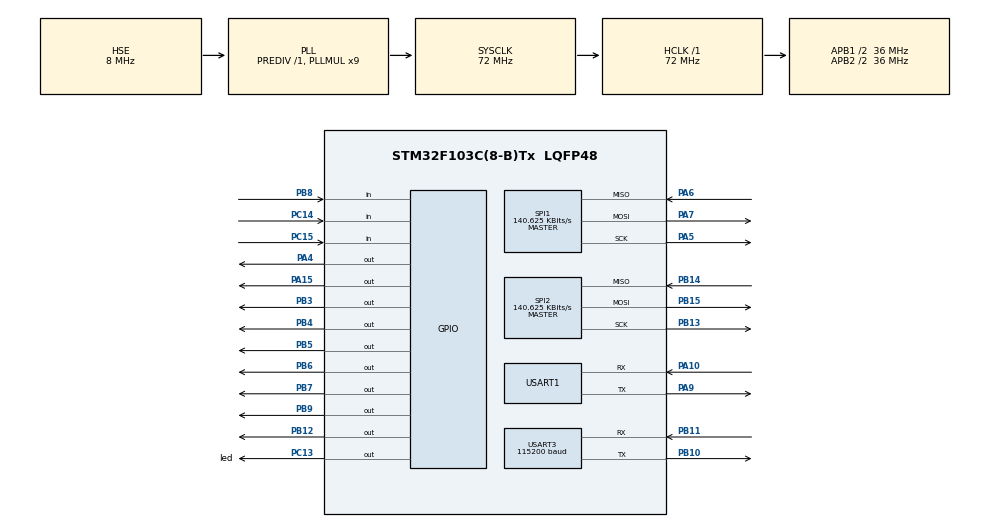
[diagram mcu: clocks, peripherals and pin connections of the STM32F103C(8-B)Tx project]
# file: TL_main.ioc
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Mcu.Family=STM32F1
Mcu.Name=STM32F103C(8-B)Tx
Mcu.Package=LQFP48
NVIC.PriorityGroup=NVIC_PRIORITYGROUP_4
NVIC.SPI1_IRQn=true\:0\:0\:false\:false\:true\:true
NVIC.SPI2_IRQn=true\:0\:0\:false\:false\:true\:true
NVIC.TIM4_IRQn=true\:0\:0\:false\:false\:true\:true
NVIC.USART1_IRQn=true\:0\:0\:false\:false\:true\:true
NVIC.USART3_IRQn=true\:0\:0\:false\:false\:true\:true
PA10.Mode=Asynchronous
PA10.Signal=USART1_RX
PA13.Mode=Serial_Wire
PA13.Signal=SYS_JTMS-SWDIO
PA14.Mode=Serial_Wire
PA14.Signal=SYS_JTCK-SWCLK
PA15.GPIO_ModeDefaultOutputPP=GPIO_MODE_OUTPUT_PP
PA15.GPIO_PuPd=GPIO_NOPULL
PA15.GPIO_Speed=GPIO_SPEED_FREQ_LOW
PA15.PinState=GPIO_PIN_RESET
PA15.Signal=GPIO_Output
PA4.GPIO_ModeDefaultOutputPP=GPIO_MODE_OUTPUT_PP
PA4.GPIO_PuPd=GPIO_NOPULL
PA4.GPIO_Speed=GPIO_SPEED_FREQ_LOW
PA4.PinState=GPIO_PIN_RESET
PA4.Signal=GPIO_Output
PA5.Mode=Full_Duplex_Master
PA5.Signal=SPI1_SCK
PA6.GPIO_Mode=GPIO_MODE_INPUT
PA6.GPIO_PuPd=GPIO_NOPULL
PA6.Mode=Full_Duplex_Master
PA6.Signal=SPI1_MISO
PA7.Mode=Full_Duplex_Master
PA7.Signal=SPI1_MOSI
PA9.Mode=Asynchronous
PA9.Signal=USART1_TX
PB10.Mode=Asynchronous
PB10.Signal=USART3_TX
PB11.Mode=Asynchronous
PB11.Signal=USART3_RX
PB12.GPIO_ModeDefaultOutputPP=GPIO_MODE_OUTPUT_PP
PB12.GPIO_PuPd=GPIO_NOPULL
PB12.GPIO_Speed=GPIO_SPEED_FREQ_LOW
PB12.PinState=GPIO_PIN_RESET
PB12.Signal=GPIO_Output
PB13.Mode=Full_Duplex_Master
PB13.Signal=SPI2_SCK
PB14.Mode=Full_Duplex_Master
PB14.Signal=SPI2_MISO
PB15.Mode=Full_Duplex_Master
PB15.Signal=SPI2_MOSI
PB3.GPIO_ModeDefaultOutputPP=GPIO_MODE_OUTPUT_PP
PB3.GPIO_PuPd=GPIO_NOPULL
PB3.GPIO_Speed=GPIO_SPEED_FREQ_LOW
PB3.PinState=GPIO_PIN_RESET
PB3.Signal=GPIO_Output
PB4.GPIO_ModeDefaultOutputPP=GPIO_MODE_OUTPUT_PP
PB4.GPIO_PuPd=GPIO_NOPULL
PB4.GPIO_Speed=GPIO_SPEED_FREQ_LOW
PB4.PinState=GPIO_PIN_RESET
PB4.Signal=GPIO_Output
PB5.GPIO_ModeDefaultOutputPP=GPIO_MODE_OUTPUT_PP
PB5.GPIO_PuPd=GPIO_NOPULL
PB5.GPIO_Speed=GPIO_SPEED_FREQ_LOW
PB5.PinState=GPIO_PIN_RESET
PB5.Signal=GPIO_Output
PB6.GPIO_ModeDefaultOutputPP=GPIO_MODE_OUTPUT_PP
PB6.GPIO_PuPd=GPIO_NOPULL
PB6.GPIO_Speed=GPIO_SPEED_FREQ_LOW
PB6.PinState=GPIO_PIN_RESET
PB6.Signal=GPIO_Output
PB7.GPIO_ModeDefaultOutputPP=GPIO_MODE_OUTPUT_PP
PB7.GPIO_PuPd=GPIO_NOPULL
PB7.GPIO_Speed=GPIO_SPEED_FREQ_LOW
PB7.PinState=GPIO_PIN_RESET
PB7.Signal=GPIO_Output
PB8.Signal=GPIO_Input
PB9.Signal=GPIO_Output
PC13-TAMPER-RTC.GPIO_Label=led
PC13-TAMPER-RTC.GPIO_ModeDefaultOutputPP=GPIO_MODE_OUTPUT_PP
PC13-TAMPER-RTC.GPIO_PuPd=GPIO_NOPULL
PC13-TAMPER-RTC.GPIO_Speed=GPIO_SPEED_FREQ_LOW
PC13-TAMPER-RTC.PinState=GPIO_PIN_RESET
PC13-TAMPER-RTC.Signal=GPIO_Output
PC14-OSC32_IN.GPIO_Mode=GPIO_MODE_INPUT
PC14-OSC32_IN.GPIO_PuPd=GPIO_NOPULL
PC14-OSC32_IN.Signal=GPIO_Input
PC15-OSC32_OUT.GPIO_Mode=GPIO_MODE_INPUT
PC15-OSC32_OUT.GPIO_PuPd=GPIO_NOPULL
PC15-OSC32_OUT.Signal=GPIO_Input
PD0-OSC_IN.Mode=HSE-External-Oscillator
PD0-OSC_IN.Signal=RCC_OSC_IN
PD1-OSC_OUT.Mode=HSE-External-Oscillator
PD1-OSC_OUT.Signal=RCC_OSC_OUT
ProjectManager.HeapSize=0x200
ProjectManager.StackSize=0x400
ProjectManager.TargetToolchain=MDK-ARM V5
RCC.AHBFreq_Value=72000000
RCC.APB1CLKDivider=RCC_HCLK_DIV2
RCC.APB1Freq_Value=36000000
RCC.APB1TimFreq_Value=72000000
RCC.APB2CLKDivider=RCC_HCLK_DIV2
RCC.APB2Freq_Value=36000000
RCC.APB2TimFreq_Value=72000000
RCC.HCLKFreq_Value=72000000
RCC.PLLMUL=RCC_PLL_MUL9
RCC.PLLSourceVirtual=RCC_PLLSOURCE_HSE
RCC.SYSCLKFreq_VALUE=72000000
RCC.SYSCLKSource=RCC_SYSCLKSOURCE_PLLCLK
RCC.USBFreq_Value=72000000
SPI1.BaudRatePrescaler=SPI_BAUDRATEPRESCALER_256
SPI1.CLKPhase=SPI_PHASE_2EDGE
SPI1.CalculateBaudRate=140.625 KBits/s
SPI1.Direction=SPI_DIRECTION_2LINES
SPI1.Mode=SPI_MODE_MASTER
SPI1.VirtualType=VM_MASTER
SPI2.BaudRatePrescaler=SPI_BAUDRATEPRESCALER_256
SPI2.CLKPhase=SPI_PHASE_2EDGE
SPI2.CalculateBaudRate=140.625 KBits/s
SPI2.Direction=SPI_DIRECTION_2LINES
SPI2.Mode=SPI_MODE_MASTER
SPI2.VirtualType=VM_MASTER
TIM4.AutoReloadPreload=TIM_AUTORELOAD_PRELOAD_ENABLE
TIM4.Period=2000
TIM4.Prescaler=36000
USART1.VirtualMode=VM_ASYNC
USART3.BaudRate=115200
USART3.VirtualMode=VM_ASYNC
VP_TIM4_VS_ClockSourceINT.Mode=Internal
board=custom

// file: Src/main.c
/**
  ******************************************************************************
  * @file           : main.c
  * @brief          : Main program body
  ******************************************************************************
  ** This notice applies to any and all portions of this file
  * that are not between comment pairs USER CODE BEGIN and
  * USER CODE END. Other portions of this file, whether
  * inserted by the user or by software development tools
  * are owned by their respective copyright owners.
  *
  * COPYRIGHT(c) 2020 STMicroelectronics
  *
  * Redistribution and use in source and binary forms, with or without modification,
  * are permitted provided that the following conditions are met:
  *   1. Redistributions of source code must retain the above copyright notice,
  *      this list of conditions and the following disclaimer.
  *   2. Redistributions in binary form must reproduce the above copyright notice,
  *      this list of conditions and the following disclaimer in the documentation
  *      and/or other materials provided with the distribution.
  *   3. Neither the name of STMicroelectronics nor the names of its contributors
  *      may be used to endorse or promote products derived from this software
  *      without specific prior written permission.
  *
  * THIS SOFTWARE IS PROVIDED BY THE COPYRIGHT HOLDERS AND CONTRIBUTORS "AS IS"
  * AND ANY EXPRESS OR IMPLIED WARRANTIES, INCLUDING, BUT NOT LIMITED TO, THE
  * IMPLIED WARRANTIES OF MERCHANTABILITY AND FITNESS FOR A PARTICULAR PURPOSE ARE
  * DISCLAIMED. IN NO EVENT SHALL THE COPYRIGHT HOLDER OR CONTRIBUTORS BE LIABLE
  * FOR ANY DIRECT, INDIRECT, INCIDENTAL, SPECIAL, EXEMPLARY, OR CONSEQUENTIAL
  * DAMAGES (INCLUDING, BUT NOT LIMITED TO, PROCUREMENT OF SUBSTITUTE GOODS OR
  * SERVICES; LOSS OF USE, DATA, OR PROFITS; OR BUSINESS INTERRUPTION) HOWEVER
  * CAUSED AND ON ANY THEORY OF LIABILITY, WHETHER IN CONTRACT, STRICT LIABILITY,
  * OR TORT (INCLUDING NEGLIGENCE OR OTHERWISE) ARISING IN ANY WAY OUT OF THE USE
  * OF THIS SOFTWARE, EVEN IF ADVISED OF THE POSSIBILITY OF SUCH DAMAGE.
  *
  ******************************************************************************
  */
#include "main.h"
#include "stm32f1xx_hal.h"

/* USER CODE BEGIN Includes */
#include "ADE7753.h"
//#include "tm_stm32_hd44780.h"
#include "lcd_txt.h"
#include "rc522.h"
#include "stdio.h"
#include "stdlib.h"
#include <cstring>
#include <stdbool.h>
#include "math.h"
//#include <Sim80x.h>
#include <string.h>
#include "modbusRTU.h"
//include <stdio.h>
#define relay_on HAL_GPIO_WritePin(GPIOB,GPIO_PIN_1,GPIO_PIN_SET)
#define relay_off HAL_GPIO_WritePin(GPIOB,GPIO_PIN_1,GPIO_PIN_RESET)
//#define relay_off HAL_GPIO_WritePin(GPIOB,GPIO_PIN_1,GPIO_PIN_RESET)
/* USER CODE END Includes */

SPI_HandleTypeDef hspi1;
SPI_HandleTypeDef hspi2;

TIM_HandleTypeDef htim4;

UART_HandleTypeDef huart1;
UART_HandleTypeDef huart3;

/* USER CODE BEGIN PV */
/* Private variables ---------------------------------------------------------*/
char buffer[20];              // buffer LCD
float Vhd1 =0.0,Vhd2=0.0,Vhdtest=0.0;
float Ihd1 =0.0,Ihd2=0.0,Ihdtest=0.0;
uint32_t Vr_ADC=0;
uint32_t Ir_ADC=0;
char bfr_wifi1[200],bfr_wifi2[200],bfr_rs485[200];
uint8_t i=0,lcd_check=1;
uint8_t id=1;
uint16_t Voffset = 0, Ioffset = 0;
uint8_t R_gain;
uint8_t ver;
uint8_t R_CH1OS ;
uint8_t R_CH2OS ;
uint32_t Waveform ;
float freq1,freq2,freq;
float cosP1=0.0,cosP2=0.0,cosP=0.0;
float csP1=0.0,csP2=0.0,csP=0.0,P_peak=0.0,csP_nhan=0.0,csP_do=0.0;
float csS1=0.0,csS2=0.0,csS=0.0,S_peak=0.0,csS1_do;
float csQ1=0.0,csQ2=0.0,csQ=0.0, Q_peak=0.0;
float V_peak=0.0, I_peak=0.0 ;
uint16_t Flag1s = 0;

uint8_t count_Byte;
char current_Address;																	// Dia chi mod bus
char Rx_data;

/* USER CODE END PV */

void SystemClock_Config(void);
static void MX_GPIO_Init(void);
static void MX_SPI1_Init(void);
static void MX_SPI2_Init(void);
static void MX_USART1_UART_Init(void);
static void MX_USART3_UART_Init(void);
static void MX_TIM4_Init(void);

/* USER CODE BEGIN PFP */
/* Private function prototypes -----------------------------------------------*/

uint16_t modbus_crc(char *buf, int len)
{
    uint16_t crc = 0xFFFF;

    for (int pos = 0; pos < len; pos++) {
        crc ^= (uint16_t)buf[pos];          // XOR byte into least sig. byte of crc

        for (int i = 8; i != 0; i--) {    // Loop over each bit
            if ((crc & 0x0001) != 0) {      // If the LSB is set
                crc >>= 1;                    // Shift right and XOR 0xA001
                crc ^= 0xA001;
            } else                          // Else LSB is not set
                crc >>= 1;                    // Just shift right
        }
    }
    // Note, this number has low and high bytes swapped, so use it accordingly (or swap bytes)
    return crc;
}
/* END CRC Modbus Function */

/* BEGIN Read Holding Register Function */
void read_Holding_Reg(UART_HandleTypeDef* huart, char slave_address, char Holding_Reg[2], char quantity_Reg)
{
	current_Address = slave_address;
	count_Byte = 5 + (uint8_t)quantity_Reg*2;
	char L1V[8] = {slave_address, 0x03, Holding_Reg[0], Holding_Reg[1], 0x00, quantity_Reg, 0x22, 0x12};
	L1V[6] = modbus_crc(L1V,6) & 0xFF;
  L1V[7] = (modbus_crc(L1V,6)>>8) & 0xFF;

  TRANSFER_EN();

	HAL_Delay(1);
  HAL_UART_Transmit(huart, (uint8_t*)L1V, 8 ,1000);
  HAL_Delay(1);
	RECEIVER_EN();
	HAL_UART_Receive_IT(huart, (uint8_t*)&Rx_data, 1);

}
/* END Read Holding Register Function */

/* BEGIN TransferRTU Enable*/
void TRANSFER_EN(void)
{
	HAL_GPIO_WritePin(GPIOB, GPIO_PIN_9, GPIO_PIN_SET);
}
/* END TransferRTU Enable */

/* BEGIN TransferRTU Enable */
void RECEIVER_EN(void)
{
	HAL_GPIO_WritePin(GPIOB, GPIO_PIN_9, GPIO_PIN_RESET);
}
/* END TransferRTU Enable */

void clear1line(uint8_t line)
{
	for (uint8_t i =0 ; i <20 ; i++)
	{
		lcd_puts(line,i, (int8_t*)" ");
	}
}

void HAL_TIM_PeriodElapsedCallback(TIM_HandleTypeDef *htim4)
{
	if(htim4 -> Instance == TIM4)
	{
		Flag1s= Flag1s+1;
	}
}

void lcd_display(void)
{
	if((Flag1s>=0)&&(Flag1s<20)){
		if(lcd_check==1){
			clear1line(1);
			clear1line(2);
			clear1line(3);
			lcd_check=2;
			}

		sprintf(buffer,"Thong so to may id=%d",id);
		lcd_puts(0,0,(int8_t*)buffer);

		sprintf(buffer,"U1:%0.2f",Vhd1);
		lcd_puts(1,0,(int8_t*)buffer);

		sprintf(buffer,"U2:%0.2f",Vhd2);
		lcd_puts(1,10,(int8_t*)buffer);

		sprintf(buffer,"I1:%0.2f",Ihd1);
		lcd_puts(2,0,(int8_t*)buffer);

		sprintf(buffer,"I2:%0.2f",Ihd2);
		lcd_puts(2,10,(int8_t*)buffer);

		sprintf(buffer,"f1:%0.1f",freq1);
		lcd_puts(3,0,(int8_t*)buffer);

		sprintf(buffer,"f2:%0.1f",freq2);
		lcd_puts(3,10,(int8_t*)buffer);
	}

	if((Flag1s>=20)&&(Flag1s<40))
		{
			if(lcd_check==2){
				clear1line(1);
				clear1line(2);
				clear1line(3);
				lcd_check=3;
			}
		sprintf(buffer,"Thong so to may id=%d",id);
		lcd_puts(0,0,(int8_t*)buffer);
		sprintf(buffer,"P1:%0.2f",csP1);
		lcd_puts(1,0,(int8_t*)buffer);

		sprintf(buffer,"P2:%0.2f",csP2);
		lcd_puts(1,10,(int8_t*)buffer);

		sprintf(buffer,"Q1:%0.2f",csQ1);
		lcd_puts(2,0,(int8_t*)buffer);

		sprintf(buffer,"Q2:%0.2f",csQ2);
		lcd_puts(2,10,(int8_t*)buffer);

		sprintf(buffer,"cos1:%0.2f",cosP1);
		lcd_puts(3,0,(int8_t*)buffer);

		sprintf(buffer,"cos2:%0.2f",cosP2);
		lcd_puts(3,10,(int8_t*)buffer);

	}
			if((Flag1s>=40)&&(Flag1s<60))
		{
		if(lcd_check==3){
				clear1line(1);
				clear1line(2);
				clear1line(3);
				lcd_check=1;
			}
		sprintf(buffer,"Thong so to may id=%d",id);
		lcd_puts(0,0,(int8_t*)buffer);
		sprintf(buffer,"P:%0.2f",csP);
		lcd_puts(1,0,(int8_t*)buffer);

		sprintf(buffer,"Q:%0.2f",csQ);
		lcd_puts(1,10,(int8_t*)buffer);

		sprintf(buffer,"cosP:%0.2f",cosP);
		lcd_puts(2,0,(int8_t*)buffer);

		sprintf(buffer,"f:%0.2f",freq);
		lcd_puts(2,10,(int8_t*)buffer);

		sprintf(buffer,"P_p:%0.2f",P_peak);
		lcd_puts(3,0,(int8_t*)buffer);

		sprintf(buffer,"Q_p:%0.2f",Q_peak);
		lcd_puts(3,10,(int8_t*)buffer);
		if(Flag1s>=58){
			Flag1s = 0;

		}

	}

}

void sendata_RS485(){
			sprintf(bfr_rs485,"{\"Id\":\"%d\",\"U1\":\"%0.3f\",\"U2\":\"%0.3f\",\"I1\":\"%0.3f\",\"I2\":\"%0.3f\",\"cosP1\":\"%0.3f\",\"cosP2\":\"%0.3f\",\"csS\":\"%0.3f\",\"csP\":\"%0.3f\",\"csQ\":\"%0.3f\",\"cosP\":\"%0.3f\",\"freq\":\"%0.3f\",\"P_peak\":\"%0.3f\",\"Q_peak\":\"%0.3f\"}\n",id,Vhd1,Vhd2,Ihd1,Ihd2,cosP1,cosP2,csS,csP,csQ,cosP,freq,P_peak,Q_peak);
			HAL_UART_Transmit_IT(&huart3,(uint8_t*)bfr_rs485,strlen(bfr_rs485));
}
void sendata_wifi(){
			sprintf(bfr_wifi2,"{\"Id\":\"%d\",\"U1\":\"%0.3f\",\"U2\":\"%0.3f\",\"I1\":\"%0.3f\",\"I2\":\"%0.3f\",\"cosP1\":\"%0.3f\",\"cosP2\":\"%0.3f\"}\n",id,Vhd1,Vhd2,Ihd1,Ihd2,cosP1,cosP2);
			HAL_UART_Transmit_IT(&huart1,(uint8_t*)bfr_wifi2,strlen(bfr_wifi2));
			HAL_Delay(100);
			sprintf(bfr_wifi1,"{\"csS\":\"%0.3f\",\"csP\":\"%0.3f\",\"csQ\":\"%0.3f\",\"cosP\":\"%0.3f\",\"freq\":\"%0.3f\",\"P_peak\":\"%0.3f\",\"Q_peak\":\"%0.3f\"}\n",csS,csP,csQ,cosP,freq,P_peak,Q_peak);
			HAL_UART_Transmit_IT(&huart1,(uint8_t*)bfr_wifi1,strlen(bfr_wifi1));
			HAL_Delay(100);

}
void getdata(){
		Vhd1 = vrms1()/10*sqrt(3);	//Ty so bien ap la 10000:100 =100 doi ra KV thi chia 1000, ti le la 1/10 roi nhan can 3 de ra dien ap o so cap vi thu cap B noi dat
		Vhd2 = vrms2()/10*sqrt(3);

		Ihd1 = irms1()*1.6; // Ty so bien dong la 1600, doi ra KA ti so la 1600/1000 = 1.6
		Ihd2 = irms2()*1.6;

		csP1 = getP1()*0.16*sqrt(3); // ty le 1600*100/1e6 =0.16 MW, nhan can 3 de ra o so cap
		csP2 = getP2()*0.16*sqrt(3);
		csP = csP1 + csP2;

		csS1 = getS1()*0.16*sqrt(3);
		csS2 = getS2()*0.16*sqrt(3);
		csS = csS1+ csS2;

		csQ1 = csS1 - csP1;
		csQ2 = csS2- csP2;
		csQ  = csS - csP;

		cosP1 = csP1/csS1;
		cosP2 = csP2/csS2;
		cosP = csP/csS;

		freq1 = getFrecuency_1();
		freq2 = getFrecuency_2();
		freq = (freq1 +freq2)/2 ;

}
void handle_pick(){
	if(csP>P_peak){
		P_peak = csP;
	}
	if(csQ> Q_peak){
		Q_peak = csQ;
	}

}

void Reset_ADE() {
	HAL_GPIO_WritePin(GPIOA,GPIO_PIN_1,GPIO_PIN_SET);
	//HAL_Delay(10);
	HAL_GPIO_WritePin(GPIOA,GPIO_PIN_1,GPIO_PIN_RESET);
	HAL_Delay(20);
	HAL_GPIO_WritePin(GPIOA,GPIO_PIN_1,GPIO_PIN_SET);
}
/* USER CODE END PFP */

int main(void)
{

  /* MCU Configuration----------------------------------------------------------*/

  /* Reset of all peripherals, Initializes the Flash interface and the Systick. */
  HAL_Init();

  /* Configure the system clock */
  SystemClock_Config();

  /* Initialize all configured peripherals */
  MX_GPIO_Init();
  MX_SPI1_Init();
  MX_SPI2_Init();
  MX_USART1_UART_Init();
  MX_USART3_UART_Init();
  MX_TIM4_Init();
  /* USER CODE BEGIN 2 */
	HAL_TIM_Base_Start_IT(&htim4);
	lcd_init();
	Reset_ADE();

//	lcd_puts(3,3,(int8_t*)"hello");

//	relay_on;

  /* USER CODE END 2 */

  /* Infinite loop */
  /* USER CODE BEGIN WHILE */
  while (1)
  {
		getdata();
		handle_pick();
		sendata_RS485();
		sendata_wifi();
		HAL_GPIO_TogglePin(GPIOC,GPIO_PIN_13);
		HAL_Delay(100);
		lcd_display();

  /* USER CODE END WHILE */

  }

}

void SystemClock_Config(void)
{

  RCC_OscInitTypeDef RCC_OscInitStruct;
  RCC_ClkInitTypeDef RCC_ClkInitStruct;

    /**Initializes the CPU, AHB and APB busses clocks
    */
  RCC_OscInitStruct.OscillatorType = RCC_OSCILLATORTYPE_HSE;
  RCC_OscInitStruct.HSEState = RCC_HSE_ON;
  RCC_OscInitStruct.HSEPredivValue = RCC_HSE_PREDIV_DIV1;
  RCC_OscInitStruct.HSIState = RCC_HSI_ON;
  RCC_OscInitStruct.PLL.PLLState = RCC_PLL_ON;
  RCC_OscInitStruct.PLL.PLLSource = RCC_PLLSOURCE_HSE;
  RCC_OscInitStruct.PLL.PLLMUL = RCC_PLL_MUL9;
  if (HAL_RCC_OscConfig(&RCC_OscInitStruct) != HAL_OK)
  {
    _Error_Handler(__FILE__, __LINE__);
  }

    /**Initializes the CPU, AHB and APB busses clocks
    */
  RCC_ClkInitStruct.ClockType = RCC_CLOCKTYPE_HCLK|RCC_CLOCKTYPE_SYSCLK
                              |RCC_CLOCKTYPE_PCLK1|RCC_CLOCKTYPE_PCLK2;
  RCC_ClkInitStruct.SYSCLKSource = RCC_SYSCLKSOURCE_PLLCLK;
  RCC_ClkInitStruct.AHBCLKDivider = RCC_SYSCLK_DIV1;
  RCC_ClkInitStruct.APB1CLKDivider = RCC_HCLK_DIV2;
  RCC_ClkInitStruct.APB2CLKDivider = RCC_HCLK_DIV2;

  if (HAL_RCC_ClockConfig(&RCC_ClkInitStruct, FLASH_LATENCY_2) != HAL_OK)
  {
    _Error_Handler(__FILE__, __LINE__);
  }

    /**Configure the Systick interrupt time
    */
  HAL_SYSTICK_Config(HAL_RCC_GetHCLKFreq()/1000);

    /**Configure the Systick
    */
  HAL_SYSTICK_CLKSourceConfig(SYSTICK_CLKSOURCE_HCLK);

  /* SysTick_IRQn interrupt configuration */
  HAL_NVIC_SetPriority(SysTick_IRQn, 0, 0);
}

/* SPI1 init function */
static void MX_SPI1_Init(void)
{

  /* SPI1 parameter configuration*/
  hspi1.Instance = SPI1;
  hspi1.Init.Mode = SPI_MODE_MASTER;
  hspi1.Init.Direction = SPI_DIRECTION_2LINES;
  hspi1.Init.DataSize = SPI_DATASIZE_8BIT;
  hspi1.Init.CLKPolarity = SPI_POLARITY_LOW;
  hspi1.Init.CLKPhase = SPI_PHASE_2EDGE;
  hspi1.Init.NSS = SPI_NSS_SOFT;
  hspi1.Init.BaudRatePrescaler = SPI_BAUDRATEPRESCALER_256;
  hspi1.Init.FirstBit = SPI_FIRSTBIT_MSB;
  hspi1.Init.TIMode = SPI_TIMODE_DISABLE;
  hspi1.Init.CRCCalculation = SPI_CRCCALCULATION_DISABLE;
  hspi1.Init.CRCPolynomial = 10;
  if (HAL_SPI_Init(&hspi1) != HAL_OK)
  {
    _Error_Handler(__FILE__, __LINE__);
  }

}

/* SPI2 init function */
static void MX_SPI2_Init(void)
{

  /* SPI2 parameter configuration*/
  hspi2.Instance = SPI2;
  hspi2.Init.Mode = SPI_MODE_MASTER;
  hspi2.Init.Direction = SPI_DIRECTION_2LINES;
  hspi2.Init.DataSize = SPI_DATASIZE_8BIT;
  hspi2.Init.CLKPolarity = SPI_POLARITY_LOW;
  hspi2.Init.CLKPhase = SPI_PHASE_2EDGE;
  hspi2.Init.NSS = SPI_NSS_SOFT;
  hspi2.Init.BaudRatePrescaler = SPI_BAUDRATEPRESCALER_256;
  hspi2.Init.FirstBit = SPI_FIRSTBIT_MSB;
  hspi2.Init.TIMode = SPI_TIMODE_DISABLE;
  hspi2.Init.CRCCalculation = SPI_CRCCALCULATION_DISABLE;
  hspi2.Init.CRCPolynomial = 10;
  if (HAL_SPI_Init(&hspi2) != HAL_OK)
  {
    _Error_Handler(__FILE__, __LINE__);
  }

}

/* TIM4 init function */
static void MX_TIM4_Init(void)
{

  TIM_ClockConfigTypeDef sClockSourceConfig;
  TIM_MasterConfigTypeDef sMasterConfig;

  htim4.Instance = TIM4;
  htim4.Init.Prescaler = 36000;
  htim4.Init.CounterMode = TIM_COUNTERMODE_UP;
  htim4.Init.Period = 2000;
  htim4.Init.ClockDivision = TIM_CLOCKDIVISION_DIV1;
  htim4.Init.AutoReloadPreload = TIM_AUTORELOAD_PRELOAD_ENABLE;
  if (HAL_TIM_Base_Init(&htim4) != HAL_OK)
  {
    _Error_Handler(__FILE__, __LINE__);
  }

  sClockSourceConfig.ClockSource = TIM_CLOCKSOURCE_INTERNAL;
  if (HAL_TIM_ConfigClockSource(&htim4, &sClockSourceConfig) != HAL_OK)
  {
    _Error_Handler(__FILE__, __LINE__);
  }

  sMasterConfig.MasterOutputTrigger = TIM_TRGO_RESET;
  sMasterConfig.MasterSlaveMode = TIM_MASTERSLAVEMODE_DISABLE;
  if (HAL_TIMEx_MasterConfigSynchronization(&htim4, &sMasterConfig) != HAL_OK)
  {
    _Error_Handler(__FILE__, __LINE__);
  }

}

/* USART1 init function */
static void MX_USART1_UART_Init(void)
{

  huart1.Instance = USART1;
  huart1.Init.BaudRate = 115200;
  huart1.Init.WordLength = UART_WORDLENGTH_8B;
  huart1.Init.StopBits = UART_STOPBITS_1;
  huart1.Init.Parity = UART_PARITY_NONE;
  huart1.Init.Mode = UART_MODE_TX_RX;
  huart1.Init.HwFlowCtl = UART_HWCONTROL_NONE;
  huart1.Init.OverSampling = UART_OVERSAMPLING_16;
  if (HAL_UART_Init(&huart1) != HAL_OK)
  {
    _Error_Handler(__FILE__, __LINE__);
  }

}

/* USART3 init function */
static void MX_USART3_UART_Init(void)
{

  huart3.Instance = USART3;
  huart3.Init.BaudRate = 115200;
  huart3.Init.WordLength = UART_WORDLENGTH_8B;
  huart3.Init.StopBits = UART_STOPBITS_1;
  huart3.Init.Parity = UART_PARITY_NONE;
  huart3.Init.Mode = UART_MODE_TX_RX;
  huart3.Init.HwFlowCtl = UART_HWCONTROL_NONE;
  huart3.Init.OverSampling = UART_OVERSAMPLING_16;
  if (HAL_UART_Init(&huart3) != HAL_OK)
  {
    _Error_Handler(__FILE__, __LINE__);
  }

}

/** Configure pins as
        * Analog
        * Input
        * Output
        * EVENT_OUT
        * EXTI
*/
static void MX_GPIO_Init(void)
{

  GPIO_InitTypeDef GPIO_InitStruct;

  /* GPIO Ports Clock Enable */
  __HAL_RCC_GPIOC_CLK_ENABLE();
  __HAL_RCC_GPIOD_CLK_ENABLE();
  __HAL_RCC_GPIOA_CLK_ENABLE();
  __HAL_RCC_GPIOB_CLK_ENABLE();

  /*Configure GPIO pin Output Level */
  HAL_GPIO_WritePin(led_GPIO_Port, led_Pin, GPIO_PIN_RESET);

  /*Configure GPIO pin Output Level */
  HAL_GPIO_WritePin(GPIOA, GPIO_PIN_4|GPIO_PIN_15, GPIO_PIN_RESET);

  /*Configure GPIO pin Output Level */
  HAL_GPIO_WritePin(GPIOB, GPIO_PIN_12|GPIO_PIN_3|GPIO_PIN_4|GPIO_PIN_5
                          |GPIO_PIN_6|GPIO_PIN_7|GPIO_PIN_9, GPIO_PIN_RESET);

  /*Configure GPIO pin : led_Pin */
  GPIO_InitStruct.Pin = led_Pin;
  GPIO_InitStruct.Mode = GPIO_MODE_OUTPUT_PP;
  GPIO_InitStruct.Pull = GPIO_NOPULL;
  GPIO_InitStruct.Speed = GPIO_SPEED_FREQ_LOW;
  HAL_GPIO_Init(led_GPIO_Port, &GPIO_InitStruct);

  /*Configure GPIO pins : PC14 PC15 */
  GPIO_InitStruct.Pin = GPIO_PIN_14|GPIO_PIN_15;
  GPIO_InitStruct.Mode = GPIO_MODE_INPUT;
  GPIO_InitStruct.Pull = GPIO_NOPULL;
  HAL_GPIO_Init(GPIOC, &GPIO_InitStruct);

  /*Configure GPIO pins : PA4 PA15 */
  GPIO_InitStruct.Pin = GPIO_PIN_4|GPIO_PIN_15;
  GPIO_InitStruct.Mode = GPIO_MODE_OUTPUT_PP;
  GPIO_InitStruct.Pull = GPIO_NOPULL;
  GPIO_InitStruct.Speed = GPIO_SPEED_FREQ_LOW;
  HAL_GPIO_Init(GPIOA, &GPIO_InitStruct);

  /*Configure GPIO pins : PB12 PB3 PB4 PB5
                           PB6 PB7 PB9 */
  GPIO_InitStruct.Pin = GPIO_PIN_12|GPIO_PIN_3|GPIO_PIN_4|GPIO_PIN_5
                          |GPIO_PIN_6|GPIO_PIN_7|GPIO_PIN_9;
  GPIO_InitStruct.Mode = GPIO_MODE_OUTPUT_PP;
  GPIO_InitStruct.Pull = GPIO_NOPULL;
  GPIO_InitStruct.Speed = GPIO_SPEED_FREQ_LOW;
  HAL_GPIO_Init(GPIOB, &GPIO_InitStruct);

  /*Configure GPIO pin : PB8 */
  GPIO_InitStruct.Pin = GPIO_PIN_8;
  GPIO_InitStruct.Mode = GPIO_MODE_INPUT;
  GPIO_InitStruct.Pull = GPIO_NOPULL;
  HAL_GPIO_Init(GPIOB, &GPIO_InitStruct);

}

void _Error_Handler(char *file, int line)
{
  while(1)
  {
  }
}

/************************ (C) COPYRIGHT STMicroelectronics *****END OF FILE****/
